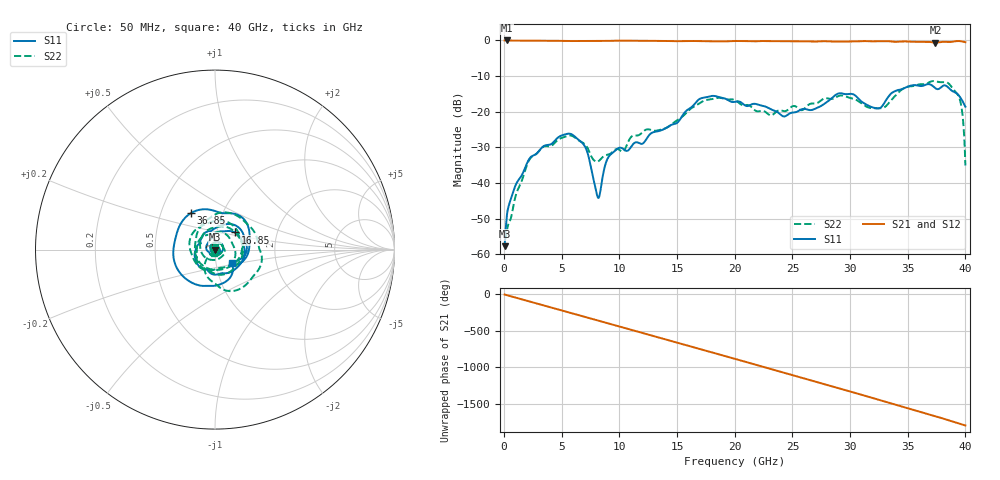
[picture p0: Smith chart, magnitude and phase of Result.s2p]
! c:\Lecroy\SPARQ\Temp\TempForSaveMeasurement\Result.s2p
! Tue Aug  7 09:50:43 2018
!!Measured using LeCroy SPARQ LCRY2401N02001
!SingleEnded
! freq S11 S21 S12 S22
# MHz S MA R 50.00
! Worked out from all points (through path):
!   800 points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, 50 MHz to 40 GHz, reference 50 ohm
!   highest |S21| = -0.01 dB at 250 MHz (marker M1); lowest = -0.6 dB at 37.4 GHz (marker M2)
!   group delay of S21, straight-line fit = 124 ps
!   lowest |S11| = -57.7 dB at 50 MHz (marker M3), VSWR 1.00, Z = 50.1 + j0.0526 ohm
!   |S11| at or under -10 dB: start of sweep to end of sweep
!   |S22| runs from -56.2 to -11.4 dB; largest |S21 - S12| = 0.025
!   S11 on the Smith chart (normalised r, x): 50 MHz: 1.00, +0.00; 16.85 GHz: 1.23, +0.24; 36.85 GHz: 0.71, +0.31; 40 GHz: 1.19, -0.18
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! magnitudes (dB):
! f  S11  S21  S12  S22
! 50 MHz  -57.7  0.0  0.0  -56.2
! 250 MHz  -49.0  0.0  0.0  -53.5
! 900 MHz  -41.5  -0.1  -0.1  -45.0
! 2.3 GHz  -32.8  -0.1  -0.1  -33.0
! 5.25 GHz  -26.4  -0.1  -0.1  -27.1
! 6.75 GHz  -28.6  -0.2  -0.2  -28.5
! 7.25 GHz  -31.6  -0.1  -0.1  -30.2
! 8.15 GHz  -44.1  -0.1  -0.1  -34.0
! 9.25 GHz  -32.0  -0.1  -0.1  -31.7
! 13.4 GHz  -25.4  -0.2  -0.2  -25.2
! 16.85 GHz  -16.7  -0.2  -0.2  -17.9
! 20.05 GHz  -17.2  -0.2  -0.2  -16.8
! 23.1 GHz  -19.3  -0.2  -0.2  -21.0
! 26.7 GHz  -19.5  -0.3  -0.4  -17.7
! 29.05 GHz  -14.8  -0.3  -0.4  -15.5
! 32.35 GHz  -19.1  -0.2  -0.3  -19.0
! 33.35 GHz  -15.7  -0.2  -0.3  -17.6
! 36.85 GHz  -12.3  -0.4  -0.5  -11.8
! 37.4 GHz  -13.4  -0.6  -0.6  -11.5
! 39.4 GHz  -15.3  -0.2  -0.3  -15.6
! 39.7 GHz  -16.7  -0.3  -0.3  -19.6
! 40 GHz  -18.6  -0.5  -0.5  -35.1
